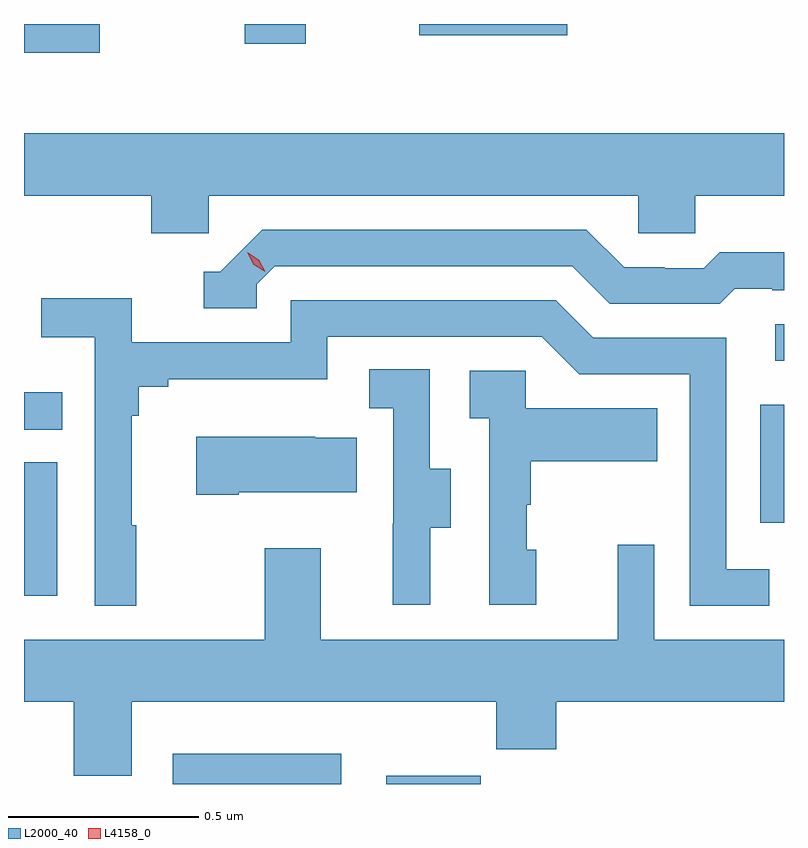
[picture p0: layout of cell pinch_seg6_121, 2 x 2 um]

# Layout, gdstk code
import gdstk
lib = gdstk.Library(unit=1e-6, precision=1e-09)
def R(c, l, rs):  # rectangles x0, y0, x1, y1
    for r in rs: c.add(gdstk.rectangle(r[:2], r[2:], *l))
def P(c, l, *ps):  # polygons
    for p in ps: c.add(gdstk.Polygon(p, *l))
L2000_40 = (2000, 40)
L4158_0 = (4158, 0)

pinch_seg6_121 = lib.new_cell('pinch_seg6_121')
R(pinch_seg6_121, L2000_40, [(970.778,931.136,971.221,931.216), (971.339,931.136,971.588,931.158), (970.386,931.632,970.474,931.983), (972.324,931.824,972.386,932.134), (970.386,932.068,970.487,932.167), (972.363,932.25,972.386,932.346), (970.386,933.06,970.585,933.136), (970.967,933.084,971.128,933.136), (971.426,933.107,971.815,933.136)])
P(pinch_seg6_121, L2000_40, [(970.872,932.684),(972.003,932.684),(972.003,932.586),(972.153,932.586),(972.153,932.684),(972.386,932.684),(972.386,932.848),(970.386,932.848),(970.386,932.684),(970.721,932.684),(970.721,932.586),(970.872,932.586)],
  [(970.998,932.451),(971.046,932.499),(971.829,932.499),(971.928,932.4),(972.217,932.4),(972.256,932.439),(972.355,932.439),(972.355,932.436),(972.386,932.436),(972.386,932.536),(972.217,932.536),(972.175,932.493),(972.072,932.493),(972.072,932.496),(971.965,932.496),(971.866,932.595),(971.013,932.595),(970.902,932.484),(970.859,932.484),(970.859,932.388),(970.998,932.388)],
  [(970.681,931.817),(970.669,931.817),(970.669,932.105),(970.688,932.105),(970.688,932.182),(970.765,932.182),(970.765,932.201),(971.184,932.201),(971.184,932.313),(971.748,932.313),(971.847,932.214),(972.138,932.214),(972.138,931.605),(972.347,931.605),(972.347,931.701),(972.234,931.701),(972.234,932.31),(971.884,932.31),(971.785,932.409),(971.088,932.409),(971.088,932.298),(970.67,932.298),(970.67,932.414),(970.431,932.414),(970.431,932.312),(970.572,932.312),(970.572,931.605),(970.681,931.605)],
  [(971.455,931.81),(971.509,931.81),(971.509,931.965),(971.454,931.965),(971.454,932.228),(971.295,932.228),(971.295,932.125),(971.358,932.125),(971.358,931.821),(971.357,931.821),(971.357,931.608),(971.455,931.608)],
  [(971.734,931.752),(971.709,931.752),(971.709,931.871),(971.719,931.871),(971.719,931.985),(972.053,931.985),(972.053,932.125),(971.706,932.125),(971.706,932.223),(971.559,932.223),(971.559,932.099),(971.61,932.099),(971.61,931.608),(971.734,931.608)],
  [(970.951,931.904),(971.261,931.904),(971.261,932.047),(971.153,932.047),(971.153,932.05),(970.839,932.05),(970.839,931.897),(970.951,931.897)],
  [(970.669,931.352),(971.629,931.352),(971.629,931.228),(971.786,931.228),(971.786,931.352),(972.386,931.352),(972.386,931.516),(972.045,931.516),(972.045,931.765),(971.948,931.765),(971.948,931.516),(971.167,931.516),(971.167,931.756),(971.02,931.756),(971.02,931.516),(970.386,931.516),(970.386,931.352),(970.517,931.352),(970.517,931.158),(970.669,931.158)])
P(pinch_seg6_121, L4158_0, [(971.021,932.484),(970.99,932.503),(970.973,932.535),(970.973,932.536),(970.973,932.536),(971.004,932.516),(971.021,932.484),(971.021,932.484)])

lib.write_gds('pinch_seg6_121.gds')
